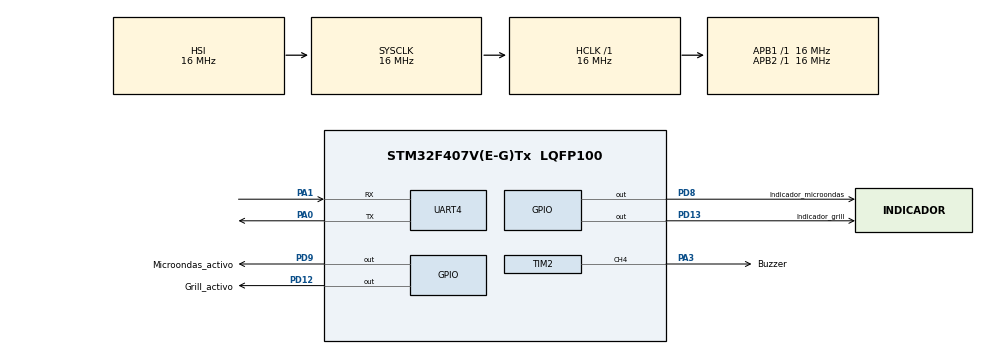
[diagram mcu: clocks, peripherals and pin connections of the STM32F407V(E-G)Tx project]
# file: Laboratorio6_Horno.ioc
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Mcu.Family=STM32F4
Mcu.Name=STM32F407V(E-G)Tx
Mcu.Package=LQFP100
NVIC.PriorityGroup=NVIC_PRIORITYGROUP_4
NVIC.TIM2_IRQn=true\:0\:0\:false\:false\:true\:true\:true\:true
PA0-WKUP.Mode=Asynchronous
PA0-WKUP.Signal=UART4_TX
PA1.Mode=Asynchronous
PA1.Signal=UART4_RX
PA3.GPIO_Label=Buzzer
PA3.Signal=S_TIM2_CH4
PD12.GPIO_Label=Grill_activo
PD12.Signal=GPIO_Output
PD13.GPIO_Label=Indicador_grill
PD13.Signal=GPIO_Output
PD8.GPIO_Label=Indicador_microondas
PD8.Signal=GPIO_Output
PD9.GPIO_Label=Microondas_activo
PD9.Signal=GPIO_Output
ProjectManager.HeapSize=0x200
ProjectManager.StackSize=0x400
ProjectManager.TargetToolchain=STM32CubeIDE
RCC.AHBFreq_Value=16000000
RCC.APB1Freq_Value=16000000
RCC.APB2Freq_Value=16000000
RCC.CortexFreq_Value=16000000
RCC.HSE_VALUE=25000000
RCC.HSI_VALUE=16000000
RCC.LSE_VALUE=32768
RCC.SYSCLKFreq_VALUE=16000000
RCC.VCOOutputFreq_Value=192000000
SH.S_TIM2_CH4.0=TIM2_CH4,PWM Generation4 CH4
TIM2.Channel-PWM\ Generation4\ CH4=TIM_CHANNEL_4
TIM2.Period=7999
TIM2.Pulse-PWM\ Generation4\ CH4=4000
UART4.VirtualMode=Asynchronous
VP_TIM2_VS_ClockSourceINT.Mode=Internal
board=custom

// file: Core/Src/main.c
/* USER CODE BEGIN Header */
/**
  ******************************************************************************
  * @file           : main.c
  * @brief          : Main program body
  ******************************************************************************
  * @attention
  *
  * Copyright (c) 2026 STMicroelectronics.
  * All rights reserved.
  *
  * This software is licensed under terms that can be found in the LICENSE file
  * in the root directory of this software component.
  * If no LICENSE file comes with this software, it is provided AS-IS.
  *
  ******************************************************************************
  */
/* USER CODE END Header */
#include "main.h"

/* USER CODE BEGIN Includes */
#include "uart.h"
/* USER CODE END Includes */

/* USER CODE BEGIN PTD */
#define T_REBOTE_MS 50U
/* USER CODE END PTD */

TIM_HandleTypeDef htim2;

UART_HandleTypeDef huart4;

/* USER CODE BEGIN PV */
uint8_t mensaje;
volatile uint8_t indice = 0;
volatile uint8_t instruccion[20];
volatile bool fin_instruccion = false;
Statechart mi_maquina;

uint32_t sc_timer_start = 0;
uint32_t sc_timer_delay = 0;
bool sc_timer_active = false;
sc_eventid sc_active_evid = NULL;
/* USER CODE END PV */

void SystemClock_Config(void);
static void MX_GPIO_Init(void);
static void MX_UART4_Init(void);
static void MX_TIM2_Init(void);

int main(void)
{

  /* MCU Configuration--------------------------------------------------------*/

  /* Reset of all peripherals, Initializes the Flash interface and the Systick. */
  HAL_Init();

  /* USER CODE BEGIN Init */
  __HAL_UART_CLEAR_OREFLAG(&huart4);
  __HAL_UART_FLUSH_DRREGISTER(&huart4);
  /* USER CODE END Init */

  /* Configure the system clock */
  SystemClock_Config();

  /* Initialize all configured peripherals */
  MX_GPIO_Init();
  MX_UART4_Init();
  MX_TIM2_Init();
  /* USER CODE BEGIN 2 */
  HAL_UART_Receive_IT(&huart4, &mensaje, sizeof(uint8_t));
  statechart_init(&mi_maquina);
  statechart_enter(&mi_maquina);
  /* USER CODE END 2 */

  /* Infinite loop */
  while (1)
  {

	  /* USER CODE BEGIN 3 */
	  if (sc_timer_active && ((HAL_GetTick() - sc_timer_start) >= sc_timer_delay))
	  {
		  sc_timer_active = false;
		  statechart_raise_time_event(&mi_maquina, sc_active_evid);
	  }
	  if(fin_instruccion)
	  {
		  ejecutar_instruccion();
	  }
	  statechart_trigger_without_event(&mi_maquina);
	  HAL_GPIO_WritePin(Indicador_microondas_GPIO_Port, Indicador_microondas_Pin,
			  statechart_get_indicador_microondas(&mi_maquina) ? GPIO_PIN_SET : GPIO_PIN_RESET);
	  HAL_GPIO_WritePin(Indicador_grill_GPIO_Port, Indicador_grill_Pin,
			  statechart_get_indicador_grill(&mi_maquina) ? GPIO_PIN_SET : GPIO_PIN_RESET);
	  HAL_GPIO_WritePin(Microondas_activo_GPIO_Port, Microondas_activo_Pin,
			  statechart_get_microondas_activo(&mi_maquina) ? GPIO_PIN_SET : GPIO_PIN_RESET);
	  HAL_GPIO_WritePin(Grill_activo_GPIO_Port, Grill_activo_Pin,
			  statechart_get_grill_activo(&mi_maquina) ? GPIO_PIN_SET : GPIO_PIN_RESET);
	  if (statechart_get_aviso_activo(&mi_maquina))
	  {
		  HAL_TIM_PWM_Start(&htim2, TIM_CHANNEL_4);
	  }
	  else
	  {
		  HAL_TIM_PWM_Stop(&htim2, TIM_CHANNEL_4);
	  }
  }
  /* USER CODE END 3 */
}

void SystemClock_Config(void)
{
  RCC_OscInitTypeDef RCC_OscInitStruct = {0};
  RCC_ClkInitTypeDef RCC_ClkInitStruct = {0};

  /** Configure the main internal regulator output voltage
  */
  __HAL_RCC_PWR_CLK_ENABLE();
  __HAL_PWR_VOLTAGESCALING_CONFIG(PWR_REGULATOR_VOLTAGE_SCALE1);

  /** Initializes the RCC Oscillators according to the specified parameters
  * in the RCC_OscInitTypeDef structure.
  */
  RCC_OscInitStruct.OscillatorType = RCC_OSCILLATORTYPE_HSI;
  RCC_OscInitStruct.HSIState = RCC_HSI_ON;
  RCC_OscInitStruct.HSICalibrationValue = RCC_HSICALIBRATION_DEFAULT;
  RCC_OscInitStruct.PLL.PLLState = RCC_PLL_NONE;
  if (HAL_RCC_OscConfig(&RCC_OscInitStruct) != HAL_OK)
  {
    Error_Handler();
  }

  /** Initializes the CPU, AHB and APB buses clocks
  */
  RCC_ClkInitStruct.ClockType = RCC_CLOCKTYPE_HCLK|RCC_CLOCKTYPE_SYSCLK
                              |RCC_CLOCKTYPE_PCLK1|RCC_CLOCKTYPE_PCLK2;
  RCC_ClkInitStruct.SYSCLKSource = RCC_SYSCLKSOURCE_HSI;
  RCC_ClkInitStruct.AHBCLKDivider = RCC_SYSCLK_DIV1;
  RCC_ClkInitStruct.APB1CLKDivider = RCC_HCLK_DIV1;
  RCC_ClkInitStruct.APB2CLKDivider = RCC_HCLK_DIV1;

  if (HAL_RCC_ClockConfig(&RCC_ClkInitStruct, FLASH_LATENCY_0) != HAL_OK)
  {
    Error_Handler();
  }
}

static void MX_TIM2_Init(void)
{

  TIM_ClockConfigTypeDef sClockSourceConfig = {0};
  TIM_MasterConfigTypeDef sMasterConfig = {0};
  TIM_OC_InitTypeDef sConfigOC = {0};

  htim2.Instance = TIM2;
  htim2.Init.Prescaler = 0;
  htim2.Init.CounterMode = TIM_COUNTERMODE_UP;
  htim2.Init.Period = 7999;
  htim2.Init.ClockDivision = TIM_CLOCKDIVISION_DIV1;
  htim2.Init.AutoReloadPreload = TIM_AUTORELOAD_PRELOAD_DISABLE;
  if (HAL_TIM_Base_Init(&htim2) != HAL_OK)
  {
    Error_Handler();
  }
  sClockSourceConfig.ClockSource = TIM_CLOCKSOURCE_INTERNAL;
  if (HAL_TIM_ConfigClockSource(&htim2, &sClockSourceConfig) != HAL_OK)
  {
    Error_Handler();
  }
  if (HAL_TIM_PWM_Init(&htim2) != HAL_OK)
  {
    Error_Handler();
  }
  sMasterConfig.MasterOutputTrigger = TIM_TRGO_RESET;
  sMasterConfig.MasterSlaveMode = TIM_MASTERSLAVEMODE_DISABLE;
  if (HAL_TIMEx_MasterConfigSynchronization(&htim2, &sMasterConfig) != HAL_OK)
  {
    Error_Handler();
  }
  sConfigOC.OCMode = TIM_OCMODE_PWM1;
  sConfigOC.Pulse = 4000;
  sConfigOC.OCPolarity = TIM_OCPOLARITY_HIGH;
  sConfigOC.OCFastMode = TIM_OCFAST_DISABLE;
  if (HAL_TIM_PWM_ConfigChannel(&htim2, &sConfigOC, TIM_CHANNEL_4) != HAL_OK)
  {
    Error_Handler();
  }
  HAL_TIM_MspPostInit(&htim2);

}

static void MX_UART4_Init(void)
{

  huart4.Instance = UART4;
  huart4.Init.BaudRate = 115200;
  huart4.Init.WordLength = UART_WORDLENGTH_8B;
  huart4.Init.StopBits = UART_STOPBITS_1;
  huart4.Init.Parity = UART_PARITY_NONE;
  huart4.Init.Mode = UART_MODE_TX_RX;
  huart4.Init.HwFlowCtl = UART_HWCONTROL_NONE;
  huart4.Init.OverSampling = UART_OVERSAMPLING_16;
  if (HAL_UART_Init(&huart4) != HAL_OK)
  {
    Error_Handler();
  }

}

static void MX_GPIO_Init(void)
{
  GPIO_InitTypeDef GPIO_InitStruct = {0};

  /* GPIO Ports Clock Enable */
  __HAL_RCC_GPIOA_CLK_ENABLE();
  __HAL_RCC_GPIOD_CLK_ENABLE();

  /*Configure GPIO pin Output Level */
  HAL_GPIO_WritePin(GPIOD, Indicador_microondas_Pin|Microondas_activo_Pin|Grill_activo_Pin|Indicador_grill_Pin, GPIO_PIN_RESET);

  /*Configure GPIO pins : Indicador_microondas_Pin Microondas_activo_Pin Grill_activo_Pin Indicador_grill_Pin */
  GPIO_InitStruct.Pin = Indicador_microondas_Pin|Microondas_activo_Pin|Grill_activo_Pin|Indicador_grill_Pin;
  GPIO_InitStruct.Mode = GPIO_MODE_OUTPUT_PP;
  GPIO_InitStruct.Pull = GPIO_NOPULL;
  GPIO_InitStruct.Speed = GPIO_SPEED_FREQ_LOW;
  HAL_GPIO_Init(GPIOD, &GPIO_InitStruct);

}

/* USER CODE BEGIN 4 */
void statechart_set_timer(Statechart* handle, const sc_eventid evid, const sc_time time_ms, const sc_boolean periodic)
{
	sc_active_evid = evid;
	sc_timer_delay = time_ms;
	sc_timer_start = HAL_GetTick();
	sc_timer_active = true;
}

void statechart_unset_timer(Statechart* handle, const sc_eventid evid)
{
	sc_timer_active = false;
}
/* USER CODE END 4 */

void Error_Handler(void)
{
  __disable_irq();
  while (1)
  {
  }
}
